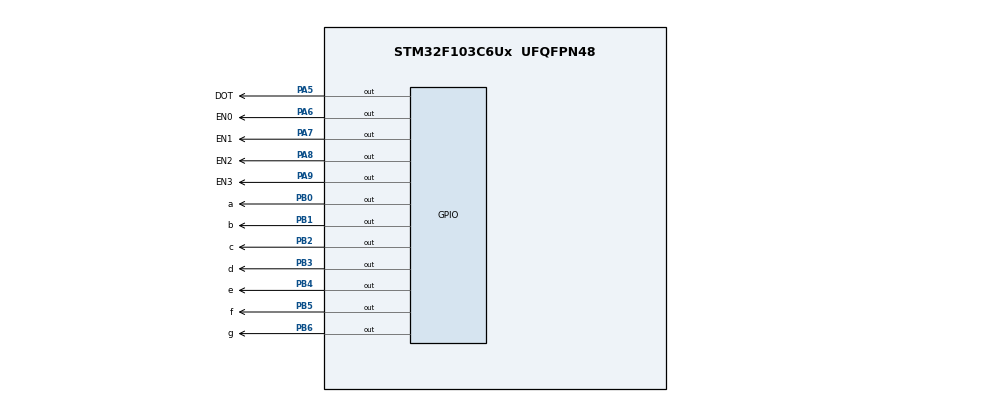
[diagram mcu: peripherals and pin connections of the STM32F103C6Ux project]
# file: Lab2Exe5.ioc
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Mcu.Family=STM32F1
Mcu.Name=STM32F103C6Ux
Mcu.Package=UFQFPN48
NVIC.PriorityGroup=NVIC_PRIORITYGROUP_4
PA5.GPIO_Label=DOT
PA5.Signal=GPIO_Output
PA6.GPIO_Label=EN0
PA6.Signal=GPIO_Output
PA7.GPIO_Label=EN1
PA7.Signal=GPIO_Output
PA8.GPIO_Label=EN2
PA8.Signal=GPIO_Output
PA9.GPIO_Label=EN3
PA9.Signal=GPIO_Output
PB0.GPIO_Label=a
PB0.Signal=GPIO_Output
PB1.GPIO_Label=b
PB1.Signal=GPIO_Output
PB2.GPIO_Label=c
PB2.Signal=GPIO_Output
PB3.GPIO_Label=d
PB3.Signal=GPIO_Output
PB4.GPIO_Label=e
PB4.Signal=GPIO_Output
PB5.GPIO_Label=f
PB5.Signal=GPIO_Output
PB6.GPIO_Label=g
PB6.Signal=GPIO_Output
ProjectManager.HeapSize=0x200
ProjectManager.StackSize=0x400
ProjectManager.TargetToolchain=STM32CubeIDE
RCC.APB1Freq_Value=8000000
RCC.APB2Freq_Value=8000000
TIM2.Prescaler=7999
VP_SYS_VS_ND.Mode=No_Debug
VP_TIM2_VS_ClockSourceINT.Mode=Internal
board=custom

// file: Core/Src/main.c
/* USER CODE BEGIN Header */
/**
  ******************************************************************************
  * @file           : main.c
  * @brief          : Main program body
  ******************************************************************************
  * @attention
  *
  * <h2><center>&copy; Copyright (c) 2022 STMicroelectronics.
  * All rights reserved.</center></h2>
  *
  * This software component is licensed by ST under BSD 3-Clause license,
  * the "License"; You may not use this file except in compliance with the
  * License. You may obtain a copy of the License at:
  *                        opensource.org/licenses/BSD-3-Clause
  *
  ******************************************************************************
  */
/* USER CODE END Header */
#include "main.h"

TIM_HandleTypeDef htim2;

void SystemClock_Config(void);
static void MX_GPIO_Init(void);
static void MX_TIM2_Init(void);

int main(void)
{

  /* MCU Configuration--------------------------------------------------------*/

  /* Reset of all peripherals, Initializes the Flash interface and the Systick. */
  HAL_Init();

  /* Configure the system clock */
  SystemClock_Config();

  /* Initialize all configured peripherals */
  MX_GPIO_Init();
  MX_TIM2_Init();
  /* USER CODE BEGIN 2 */
  HAL_TIM_Base_Start_IT(&htim2);
  /* USER CODE END 2 */

  /* Infinite loop */
  while (1) {

  }
}

void SystemClock_Config(void)
{
  RCC_OscInitTypeDef RCC_OscInitStruct = {0};
  RCC_ClkInitTypeDef RCC_ClkInitStruct = {0};

  /** Initializes the RCC Oscillators according to the specified parameters
  * in the RCC_OscInitTypeDef structure.
  */
  RCC_OscInitStruct.OscillatorType = RCC_OSCILLATORTYPE_HSI;
  RCC_OscInitStruct.HSIState = RCC_HSI_ON;
  RCC_OscInitStruct.HSICalibrationValue = RCC_HSICALIBRATION_DEFAULT;
  RCC_OscInitStruct.PLL.PLLState = RCC_PLL_NONE;
  if (HAL_RCC_OscConfig(&RCC_OscInitStruct) != HAL_OK)
  {
    Error_Handler();
  }
  /** Initializes the CPU, AHB and APB buses clocks
  */
  RCC_ClkInitStruct.ClockType = RCC_CLOCKTYPE_HCLK|RCC_CLOCKTYPE_SYSCLK
                              |RCC_CLOCKTYPE_PCLK1|RCC_CLOCKTYPE_PCLK2;
  RCC_ClkInitStruct.SYSCLKSource = RCC_SYSCLKSOURCE_HSI;
  RCC_ClkInitStruct.AHBCLKDivider = RCC_SYSCLK_DIV1;
  RCC_ClkInitStruct.APB1CLKDivider = RCC_HCLK_DIV1;
  RCC_ClkInitStruct.APB2CLKDivider = RCC_HCLK_DIV1;

  if (HAL_RCC_ClockConfig(&RCC_ClkInitStruct, FLASH_LATENCY_0) != HAL_OK)
  {
    Error_Handler();
  }
}

static void MX_TIM2_Init(void)
{

  TIM_ClockConfigTypeDef sClockSourceConfig = {0};
  TIM_MasterConfigTypeDef sMasterConfig = {0};

  htim2.Instance = TIM2;
  htim2.Init.Prescaler = 7999;
  htim2.Init.CounterMode = TIM_COUNTERMODE_UP;
  htim2.Init.Period = 65535;
  htim2.Init.ClockDivision = TIM_CLOCKDIVISION_DIV1;
  htim2.Init.AutoReloadPreload = TIM_AUTORELOAD_PRELOAD_DISABLE;
  if (HAL_TIM_Base_Init(&htim2) != HAL_OK)
  {
    Error_Handler();
  }
  sClockSourceConfig.ClockSource = TIM_CLOCKSOURCE_INTERNAL;
  if (HAL_TIM_ConfigClockSource(&htim2, &sClockSourceConfig) != HAL_OK)
  {
    Error_Handler();
  }
  sMasterConfig.MasterOutputTrigger = TIM_TRGO_RESET;
  sMasterConfig.MasterSlaveMode = TIM_MASTERSLAVEMODE_DISABLE;
  if (HAL_TIMEx_MasterConfigSynchronization(&htim2, &sMasterConfig) != HAL_OK)
  {
    Error_Handler();
  }

}

static void MX_GPIO_Init(void)
{
  GPIO_InitTypeDef GPIO_InitStruct = {0};

  /* GPIO Ports Clock Enable */
  __HAL_RCC_GPIOA_CLK_ENABLE();
  __HAL_RCC_GPIOB_CLK_ENABLE();

  /*Configure GPIO pin Output Level */
  HAL_GPIO_WritePin(GPIOA, DOT_Pin|EN0_Pin|EN1_Pin|EN2_Pin
                          |EN3_Pin, GPIO_PIN_RESET);

  /*Configure GPIO pin Output Level */
  HAL_GPIO_WritePin(GPIOB, a_Pin|b_Pin|c_Pin|d_Pin
                          |e_Pin|f_Pin|g_Pin, GPIO_PIN_RESET);

  /*Configure GPIO pins : DOT_Pin EN0_Pin EN1_Pin EN2_Pin
                           EN3_Pin */
  GPIO_InitStruct.Pin = DOT_Pin|EN0_Pin|EN1_Pin|EN2_Pin
                          |EN3_Pin;
  GPIO_InitStruct.Mode = GPIO_MODE_OUTPUT_PP;
  GPIO_InitStruct.Pull = GPIO_NOPULL;
  GPIO_InitStruct.Speed = GPIO_SPEED_FREQ_LOW;
  HAL_GPIO_Init(GPIOA, &GPIO_InitStruct);

  /*Configure GPIO pins : a_Pin b_Pin c_Pin d_Pin
                           e_Pin f_Pin g_Pin */
  GPIO_InitStruct.Pin = a_Pin|b_Pin|c_Pin|d_Pin
                          |e_Pin|f_Pin|g_Pin;
  GPIO_InitStruct.Mode = GPIO_MODE_OUTPUT_PP;
  GPIO_InitStruct.Pull = GPIO_NOPULL;
  GPIO_InitStruct.Speed = GPIO_SPEED_FREQ_LOW;
  HAL_GPIO_Init(GPIOB, &GPIO_InitStruct);

}

/* USER CODE BEGIN 4 */
void Display7SEG(int num)
{
	HAL_GPIO_WritePin(GPIOB, g_Pin|f_Pin|e_Pin|d_Pin|c_Pin|b_Pin|a_Pin, SET);
	switch (num)
	{
	case 0:
		HAL_GPIO_WritePin(GPIOB, f_Pin|e_Pin|d_Pin|c_Pin|b_Pin|a_Pin ,RESET);
		break;
	case 1:
		HAL_GPIO_WritePin(GPIOB, c_Pin|b_Pin, RESET);
		break;
	case 2:
		HAL_GPIO_WritePin(GPIOB,  g_Pin|e_Pin|d_Pin|b_Pin|a_Pin, RESET);
		break;
	case 3:
		HAL_GPIO_WritePin(GPIOB, g_Pin|d_Pin|c_Pin|b_Pin|a_Pin, RESET);
		break;
	case 4:
		HAL_GPIO_WritePin(GPIOB, g_Pin|f_Pin|c_Pin|b_Pin, RESET);
		break;
	case 5:
		HAL_GPIO_WritePin(GPIOB, g_Pin|f_Pin|d_Pin|c_Pin|a_Pin, RESET);
		break;
	case 6:
		HAL_GPIO_WritePin(GPIOB, g_Pin|f_Pin|e_Pin|d_Pin|c_Pin|a_Pin , RESET);
		break;
	case 7:
		HAL_GPIO_WritePin(GPIOB, c_Pin|b_Pin|a_Pin, RESET);
		break;
	case 8:
		HAL_GPIO_WritePin(GPIOB, g_Pin|f_Pin|e_Pin|d_Pin|c_Pin|b_Pin|a_Pin, RESET);
		break;
	case 9:
		HAL_GPIO_WritePin(GPIOB, g_Pin|f_Pin|d_Pin|c_Pin|b_Pin|a_Pin ,RESET);
		break;
	}
}

int counter1 = 50;
int counter2 = 100;
int status = 1;
void HAL_TIM_PeriodElapsedCallback(TIM_HandleTypeDef *htim)
{
	if(counter1 > 0)
	{
		counter1--;
	}
	if(counter1 <= 0)
	{
		counter1 = 50;
		HAL_GPIO_WritePin(GPIOA, EN0_Pin|EN1_Pin|EN2_Pin|EN3_Pin, SET);
	switch(status)
	{
	case 0:
		HAL_GPIO_WritePin(GPIOA, EN3_Pin, RESET);
		Display7SEG(status);
		status++;
		break;
	case 1:
		HAL_GPIO_WritePin(GPIOA, EN0_Pin, RESET);
		Display7SEG(status);
		status++;
		break;
	case 2:
		HAL_GPIO_WritePin(GPIOA, EN1_Pin, RESET);
		Display7SEG(status);
		status++;
		break;
	case 3:
		HAL_GPIO_WritePin(GPIOA, EN2_Pin, RESET);
		Display7SEG(status);
		status++;
		break;
	default:
		status = 1;
		HAL_GPIO_WritePin(GPIOA, EN3_Pin, SET);
		Display7SEG(status);
		status++;
		break;
	}
	}
	if(counter2 > 0)
		counter2--;
	if(counter2 <= 0)
	{
		counter2 = 100;
		HAL_GPIO_TogglePin(GPIOA, DOT_Pin);
	}
}
/* USER CODE END 4 */

void Error_Handler(void)
{
  __disable_irq();
  while (1)
  {
  }
}

/************************ (C) COPYRIGHT STMicroelectronics *****END OF FILE****/
